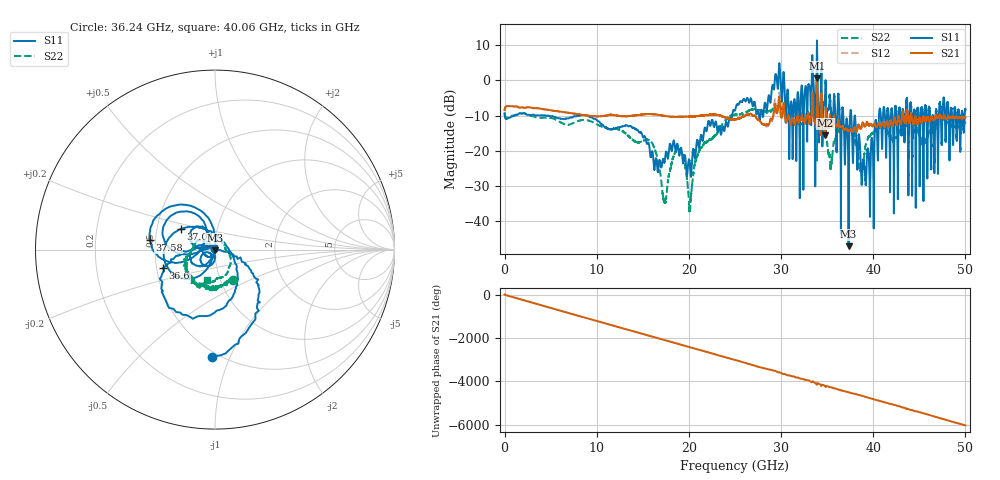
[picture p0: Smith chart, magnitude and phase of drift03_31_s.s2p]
!Created with skrf (http://scikit-rf.org).
# Hz S RI R 50.0
!freq ReS11 ImS11 ReS21 ImS21 ReS12 ImS12 ReS22 ImS22
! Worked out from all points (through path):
!   10001 points, 300 kHz to 50 GHz, reference 50 ohm
!   highest |S21| = 0.55 dB at 33.9 GHz (marker M1); lowest = -15.6 dB at 34.8 GHz (marker M2)
!   group delay of S21, straight-line fit = 335 ps
!   lowest |S11| = -47.1 dB at 37.32 GHz (marker M3), VSWR 1.01, Z = 49.8 - j0.409 ohm
!   |S11| at or under -10 dB: 4.477 GHz to 7.972 GHz (3.495 GHz wide, 56.2 % of centre); 9.016 GHz to 24.7 GHz (15.68 GHz wide, 93 % of centre); 37.62 GHz to 40.62 GHz (3.004 GHz wide, 7.68 % of centre) (the widest 3 of 64)
!   |S22| runs from -37.6 to -5.9 dB; largest |S21 - S12| = 0.11
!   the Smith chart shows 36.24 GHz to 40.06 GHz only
!   S11 on the Smith chart (normalised r, x): 36.24 GHz: 0.46, -0.86; 36.6 GHz: 0.54, -0.12; 37.04 GHz: 0.66, +0.16; 37.58 GHz: 0.46, +0.06; 40.06 GHz: 0.99, +0.02
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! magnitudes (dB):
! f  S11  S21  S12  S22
! 300 kHz  -9.3  -8.4  -8.5  -9.3
! 8.335 GHz  -9.9  -9.8  -9.8  -11.3
! 16.67 GHz  -25.5  -9.8  -9.8  -23.3
! 17.38 GHz  -22.8  -10.1  -10.1  -34.5
! 19.06 GHz  -20.0  -10.4  -10.3  -20.0
! 20.12 GHz  -24.3  -10.3  -10.3  -35.8
! 21.18 GHz  -18.1  -10.1  -10.1  -19.7
! 25 GHz  -8.6  -11.1  -11.1  -9.8
! 29.66 GHz  -2.3  -8.3  -8.4  -7.1
! 31.08 GHz  -6.1  -12.7  -12.7  -10.5
! 33.34 GHz  0.3  -7.5  -7.6  -9.4
! 33.9 GHz  11.3  0.5  0.1  -22.8
! 34.8 GHz  -3.3  -15.6  -13.7  -14.4
! 36.24 GHz  -4.5  -11.8  -11.7  -14.1
! 36.6 GHz  -10.2  -13.1  -13.1  -13.8
! 37.04 GHz  -13.0  -13.8  -14.1  -13.4
! 37.32 GHz  -47.1  -14.4  -14.5  -13.6
! 37.58 GHz  -8.7  -13.9  -13.8  -14.0
! 38.71 GHz  -27.5  -13.5  -13.3  -25.4
! 40.06 GHz  -39.7  -12.7  -12.7  -15.1
! 41.67 GHz  -9.5  -13.3  -13.2  -15.0
! 50 GHz  -8.3  -10.6  -10.6  -12.1
